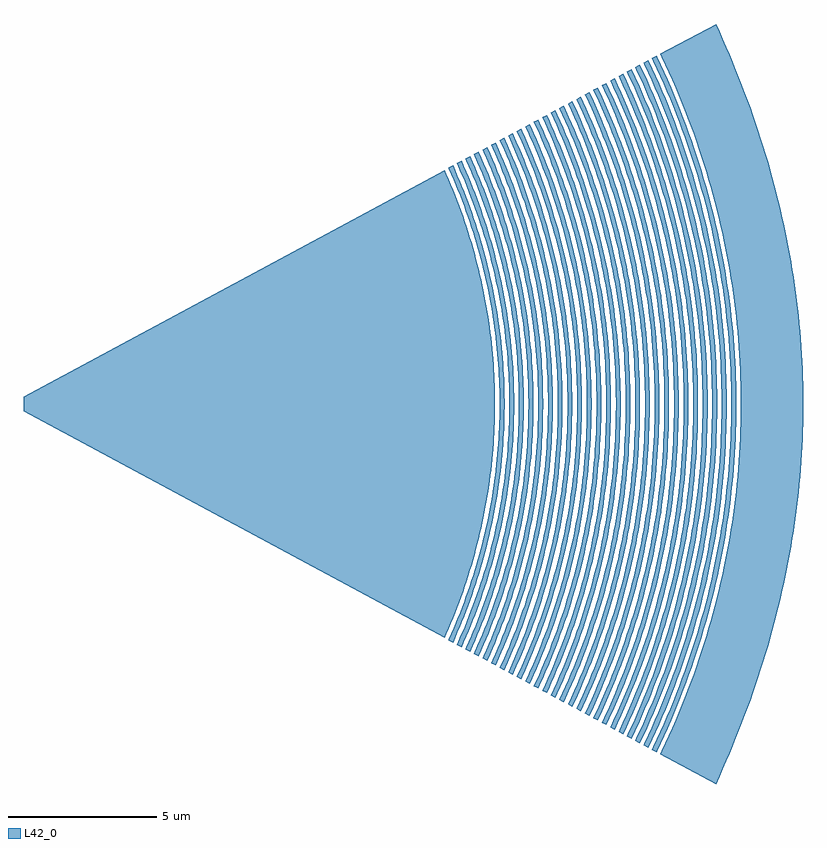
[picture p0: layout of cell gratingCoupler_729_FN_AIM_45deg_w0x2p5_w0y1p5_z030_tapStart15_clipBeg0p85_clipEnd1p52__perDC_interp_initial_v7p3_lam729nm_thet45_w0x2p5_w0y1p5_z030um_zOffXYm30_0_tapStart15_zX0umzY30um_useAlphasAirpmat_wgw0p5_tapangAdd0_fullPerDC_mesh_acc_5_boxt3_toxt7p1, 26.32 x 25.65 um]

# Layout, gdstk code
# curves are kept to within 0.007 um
import gdstk
lib = gdstk.Library(unit=1e-6, precision=1e-09)
def P(c, l, *ps):  # polygons
    for p in ps: c.add(gdstk.Polygon(p, *l))
L42_0 = (42, 0)

gratingcoupler_729_fn_ai = lib.new_cell('gratingCoupler_729_FN_AIM_45deg_w0x2p5_w0y1p5_z030_tapStart15_clipBeg0p85_clipEnd1p52__perDC_interp_initial_v7p3_lam729nm_thet45_w0x2p5_w0y1p5_z030um_zOffXYm30_0_tapStart15_zX0umzY30um_useAlphasAirpmat_wgw0p5_tapangAdd0_fullPerDC_mesh_acc_5_boxt3_toxt7p1')
P(gratingcoupler_729_fn_ai, L42_0, [(14.208,-7.895),(0,-0.25),(0,0.25),(14.208,7.895),(14.566,7.042),(14.767,6.507),(14.95,5.972),(15.218,5.081),(15.357,4.546),(15.48,4.011),(15.553,3.655),(15.678,2.941),(15.795,2.05),(15.87,1.159),(15.895,0.624),(15.905,0.089),(15.9,-0.446),(15.88,-0.98),(15.845,-1.515),(15.795,-2.05),(15.678,-2.941),(15.553,-3.655),(15.48,-4.011),(15.357,-4.546),(15.218,-5.081),(14.95,-5.972),(14.767,-6.507),(14.566,-7.042)],
  [(14.495,-8.05),(14.339,-7.966),(14.584,-7.398),(14.797,-6.863),(14.992,-6.329),(15.17,-5.794),(15.331,-5.259),(15.475,-4.724),(15.603,-4.189),(15.715,-3.655),(15.867,-2.763),(15.976,-1.872),(16.043,-0.98),(16.068,-0.089),(16.051,0.802),(15.993,1.694),(15.867,2.763),(15.715,3.655),(15.603,4.189),(15.475,4.724),(15.331,5.259),(15.17,5.794),(14.992,6.329),(14.797,6.863),(14.584,7.398),(14.339,7.966),(14.495,8.05),(14.794,7.348),(14.936,6.985),(15.257,6.078),(15.53,5.171),(15.672,4.626),(15.797,4.082),(15.969,3.175),(16.051,2.631),(16.118,2.086),(16.195,1.179),(16.22,0.635),(16.23,0.091),(16.225,-0.454),(16.205,-0.998),(16.137,-1.905),(16.075,-2.449),(15.998,-2.994),(15.906,-3.538),(15.797,-4.082),(15.672,-4.626),(15.53,-5.171),(15.257,-6.078),(14.936,-6.985),(14.794,-7.348)],
  [(14.782,-8.204),(14.625,-8.12),(15.028,-7.166),(15.232,-6.622),(15.419,-6.078),(15.589,-5.534),(15.741,-4.989),(15.919,-4.264),(16.033,-3.719),(16.187,-2.812),(16.298,-1.905),(16.366,-0.998),(16.392,-0.091),(16.375,0.816),(16.344,1.361),(16.298,1.905),(16.187,2.812),(16.033,3.719),(15.919,4.264),(15.741,4.989),(15.589,5.534),(15.419,6.078),(15.232,6.622),(15.028,7.166),(14.625,8.12),(14.782,8.204),(15.017,7.66),(15.238,7.107),(15.565,6.184),(15.843,5.261),(15.987,4.707),(16.114,4.153),(16.225,3.599),(16.319,3.046),(16.441,2.123),(16.519,1.2),(16.545,0.646),(16.555,0.092),(16.55,-0.461),(16.529,-1.015),(16.493,-1.569),(16.441,-2.123),(16.319,-3.046),(16.225,-3.599),(16.114,-4.153),(15.987,-4.707),(15.843,-5.261),(15.565,-6.184),(15.238,-7.107),(15.017,-7.66)],
  [(15.069,-8.359),(14.912,-8.274),(15.178,-7.66),(15.399,-7.107),(15.726,-6.184),(15.952,-5.445),(16.102,-4.892),(16.234,-4.338),(16.351,-3.784),(16.508,-2.861),(16.621,-1.938),(16.69,-1.015),(16.716,-0.092),(16.699,0.831),(16.668,1.384),(16.621,1.938),(16.508,2.861),(16.351,3.784),(16.234,4.338),(16.102,4.892),(15.952,5.445),(15.726,6.184),(15.399,7.107),(15.178,7.66),(14.912,8.274),(15.069,8.359),(15.392,7.604),(15.61,7.04),(15.81,6.477),(15.991,5.914),(16.155,5.351),(16.39,4.412),(16.508,3.849),(16.61,3.286),(16.743,2.347),(16.801,1.784),(16.843,1.22),(16.87,0.657),(16.88,0.094),(16.875,-0.469),(16.854,-1.033),(16.817,-1.596),(16.764,-2.159),(16.695,-2.722),(16.61,-3.286),(16.431,-4.224),(16.206,-5.163),(16.048,-5.726),(15.872,-6.289),(15.539,-7.228),(15.315,-7.791)],
  [(15.357,-8.513),(15.199,-8.428),(15.397,-7.979),(15.627,-7.416),(15.839,-6.853),(16.033,-6.289),(16.209,-5.726),(16.367,-5.163),(16.508,-4.6),(16.669,-3.849),(16.829,-2.91),(16.944,-1.971),(17.015,-1.033),(17.041,-0.094),(17.031,0.657),(17.004,1.22),(16.962,1.784),(16.856,2.722),(16.771,3.286),(16.669,3.849),(16.508,4.6),(16.367,5.163),(16.209,5.726),(16.033,6.289),(15.839,6.853),(15.627,7.416),(15.397,7.979),(15.199,8.428),(15.357,8.513),(15.767,7.541),(15.983,6.968),(16.18,6.395),(16.468,5.441),(16.617,4.868),(16.748,4.295),(16.863,3.723),(16.961,3.15),(17.087,2.195),(17.168,1.241),(17.195,0.668),(17.205,0.095),(17.187,-0.859),(17.155,-1.432),(17.107,-2.004),(17.042,-2.577),(16.961,-3.15),(16.863,-3.723),(16.748,-4.295),(16.617,-4.868),(16.468,-5.441),(16.18,-6.395),(15.983,-6.968),(15.767,-7.541)],
  [(15.644,-8.668),(15.489,-8.585),(15.698,-8.113),(15.933,-7.541),(16.148,-6.968),(16.345,-6.395),(16.524,-5.823),(16.685,-5.25),(16.828,-4.677),(16.954,-4.104),(17.126,-3.15),(17.253,-2.195),(17.306,-1.623),(17.344,-1.05),(17.371,-0.095),(17.353,0.859),(17.29,1.814),(17.231,2.386),(17.155,2.959),(16.992,3.914),(16.872,4.486),(16.734,5.059),(16.58,5.632),(16.407,6.204),(16.216,6.777),(16.007,7.35),(15.698,8.113),(15.489,8.585),(15.644,8.668),(16.068,7.666),(16.287,7.083),(16.488,6.501),(16.781,5.531),(16.932,4.949),(17.066,4.367),(17.251,3.396),(17.339,2.814),(17.411,2.232),(17.465,1.65),(17.504,1.067),(17.531,0.097),(17.526,-0.485),(17.504,-1.067),(17.465,-1.65),(17.411,-2.232),(17.339,-2.814),(17.251,-3.396),(17.066,-4.367),(16.932,-4.949),(16.781,-5.531),(16.488,-6.501),(16.287,-7.083),(16.068,-7.666)],
  [(15.932,-8.823),(15.781,-8.742),(16,-8.248),(16.314,-7.472),(16.658,-6.501),(16.84,-5.919),(17.003,-5.337),(17.149,-4.755),(17.277,-4.172),(17.453,-3.202),(17.581,-2.232),(17.636,-1.65),(17.674,-1.067),(17.701,-0.097),(17.696,0.485),(17.674,1.067),(17.601,2.038),(17.482,3.008),(17.316,3.978),(17.194,4.561),(17.054,5.143),(16.896,5.725),(16.721,6.307),(16.527,6.889),(16.314,7.472),(16,8.248),(15.781,8.742),(15.932,8.823),(16.21,8.185),(16.446,7.594),(16.796,6.607),(16.981,6.016),(17.148,5.424),(17.385,4.438),(17.573,3.452),(17.662,2.86),(17.735,2.268),(17.819,1.282),(17.846,0.69),(17.857,0.099),(17.852,-0.493),(17.83,-1.085),(17.791,-1.677),(17.735,-2.268),(17.662,-2.86),(17.573,-3.452),(17.385,-4.438),(17.148,-5.424),(16.981,-6.016),(16.796,-6.607),(16.446,-7.594),(16.21,-8.185)],
  [(16.22,-8.978),(16.072,-8.898),(16.301,-8.383),(16.543,-7.791),(16.767,-7.199),(16.97,-6.607),(17.155,-6.016),(17.322,-5.424),(17.47,-4.832),(17.6,-4.241),(17.713,-3.649),(17.809,-3.057),(17.93,-2.071),(18.004,-1.085),(18.032,-0.099),(18.026,0.493),(18.004,1.085),(17.93,2.071),(17.809,3.057),(17.64,4.043),(17.515,4.635),(17.373,5.227),(17.213,5.818),(17.034,6.41),(16.837,7.002),(16.62,7.594),(16.301,8.383),(16.072,8.898),(16.22,8.978),(16.424,8.518),(16.671,7.916),(17.038,6.914),(17.352,5.912),(17.515,5.311),(17.66,4.71),(17.786,4.108),(17.895,3.507),(17.986,2.906),(18.06,2.305),(18.145,1.303),(18.173,0.701),(18.184,0.1),(18.166,-0.902),(18.132,-1.503),(18.081,-2.104),(18.013,-2.706),(17.927,-3.307),(17.824,-3.908),(17.704,-4.509),(17.463,-5.511),(17.293,-6.113),(17.105,-6.714),(16.898,-7.315),(16.671,-7.916),(16.424,-8.518)],
  [(16.508,-9.133),(16.36,-9.053),(16.598,-8.518),(16.845,-7.916),(17.072,-7.315),(17.279,-6.714),(17.467,-6.113),(17.637,-5.511),(17.787,-4.91),(17.92,-4.309),(18.035,-3.708),(18.132,-3.106),(18.255,-2.104),(18.33,-1.102),(18.358,-0.1),(18.34,0.902),(18.306,1.503),(18.255,2.104),(18.132,3.106),(18.035,3.708),(17.92,4.309),(17.787,4.91),(17.637,5.511),(17.467,6.113),(17.279,6.714),(17.072,7.315),(16.845,7.916),(16.598,8.518),(16.36,9.053),(16.508,9.133),(16.721,8.652),(16.972,8.042),(17.129,7.635),(17.346,7.024),(17.665,6.006),(17.831,5.395),(17.978,4.784),(18.106,4.174),(18.217,3.563),(18.362,2.545),(18.425,1.934),(18.471,1.323),(18.5,0.713),(18.511,0.102),(18.506,-0.509),(18.483,-1.12),(18.442,-1.73),(18.385,-2.341),(18.25,-3.359),(18.145,-3.97),(18.023,-4.581),(17.882,-5.191),(17.722,-5.802),(17.414,-6.82),(17.052,-7.838),(16.807,-8.449)],
  [(16.796,-9.288),(16.648,-9.208),(16.895,-8.652),(17.146,-8.042),(17.377,-7.431),(17.588,-6.82),(17.779,-6.209),(17.951,-5.599),(18.105,-4.988),(18.24,-4.377),(18.424,-3.359),(18.559,-2.341),(18.616,-1.73),(18.657,-1.12),(18.685,-0.102),(18.68,0.509),(18.657,1.12),(18.58,2.138),(18.455,3.156),(18.356,3.766),(18.24,4.377),(18.105,4.988),(17.951,5.599),(17.779,6.209),(17.588,6.82),(17.377,7.431),(17.146,8.042),(16.895,8.652),(16.648,9.208),(16.796,9.288),(17.106,8.581),(17.274,8.167),(17.654,7.133),(17.978,6.1),(18.146,5.479),(18.296,4.859),(18.427,4.239),(18.539,3.618),(18.633,2.998),(18.71,2.378),(18.798,1.344),(18.827,0.724),(18.838,0.103),(18.833,-0.517),(18.809,-1.137),(18.768,-1.757),(18.71,-2.378),(18.633,-2.998),(18.539,-3.618),(18.427,-4.239),(18.296,-4.859),(18.146,-5.479),(17.978,-6.1),(17.654,-7.133),(17.274,-8.167),(17.106,-8.581)],
  [(17.084,-9.443),(16.936,-9.363),(17.192,-8.787),(17.448,-8.167),(17.682,-7.547),(17.897,-6.927),(18.091,-6.306),(18.266,-5.686),(18.422,-5.066),(18.559,-4.445),(18.747,-3.412),(18.884,-2.378),(18.972,-1.344),(19.001,-0.724),(19.012,-0.103),(18.993,0.93),(18.925,1.964),(18.86,2.585),(18.778,3.205),(18.601,4.239),(18.47,4.859),(18.266,5.686),(18.091,6.306),(17.897,6.927),(17.682,7.547),(17.448,8.167),(17.192,8.787),(16.936,9.363),(17.084,9.443),(17.315,8.922),(17.575,8.293),(17.961,7.243),(18.291,6.193),(18.462,5.563),(18.614,4.934),(18.825,3.884),(18.927,3.254),(19.011,2.624),(19.076,1.994),(19.124,1.365),(19.154,0.735),(19.166,0.105),(19.16,-0.525),(19.136,-1.155),(19.094,-1.784),(19.035,-2.414),(18.957,-3.044),(18.861,-3.674),(18.66,-4.724),(18.515,-5.353),(18.35,-5.983),(18.165,-6.613),(17.961,-7.243),(17.575,-8.293),(17.315,-8.922)],
  [(17.371,-9.598),(17.224,-9.518),(17.489,-8.922),(17.749,-8.293),(17.988,-7.663),(18.205,-7.033),(18.403,-6.403),(18.581,-5.773),(18.739,-5.143),(18.879,-4.514),(19.069,-3.464),(19.159,-2.834),(19.231,-2.204),(19.31,-1.155),(19.34,-0.105),(19.32,0.945),(19.284,1.575),(19.231,2.204),(19.101,3.254),(18.999,3.884),(18.879,4.514),(18.739,5.143),(18.581,5.773),(18.403,6.403),(18.205,7.033),(17.988,7.663),(17.749,8.293),(17.489,8.922),(17.224,9.518),(17.371,9.598),(17.791,8.631),(18.04,7.992),(18.269,7.352),(18.604,6.287),(18.778,5.647),(18.932,5.008),(19.067,4.369),(19.183,3.729),(19.281,3.09),(19.36,2.451),(19.45,1.385),(19.481,0.746),(19.493,0.107),(19.487,-0.533),(19.462,-1.172),(19.42,-1.811),(19.36,-2.451),(19.218,-3.516),(19.108,-4.156),(18.979,-4.795),(18.831,-5.434),(18.664,-6.074),(18.476,-6.713),(18.269,-7.352),(18.04,-7.992),(17.791,-8.631)],
  [(17.659,-9.752),(17.511,-9.673),(17.786,-9.057),(18.05,-8.418),(18.293,-7.779),(18.514,-7.139),(18.715,-6.5),(18.896,-5.861),(19.057,-5.221),(19.198,-4.582),(19.392,-3.516),(19.534,-2.451),(19.624,-1.385),(19.654,-0.746),(19.667,-0.107),(19.661,0.533),(19.636,1.172),(19.556,2.238),(19.483,2.877),(19.392,3.516),(19.198,4.582),(19.057,5.221),(18.896,5.861),(18.715,6.5),(18.514,7.139),(18.293,7.779),(18.05,8.418),(17.786,9.057),(17.511,9.673),(17.659,9.752),(17.909,9.192),(18.177,8.543),(18.344,8.111),(18.576,7.462),(18.916,6.38),(19.093,5.732),(19.25,5.083),(19.387,4.434),(19.505,3.785),(19.604,3.136),(19.685,2.487),(19.777,1.406),(19.807,0.757),(19.82,0.108),(19.813,-0.541),(19.789,-1.19),(19.746,-1.838),(19.685,-2.487),(19.541,-3.569),(19.429,-4.218),(19.298,-4.866),(19.036,-5.948),(18.853,-6.597),(18.649,-7.246),(18.424,-7.894),(18.177,-8.543),(17.909,-9.192)],
  [(17.946,-9.907),(17.798,-9.827),(18.083,-9.192),(18.351,-8.543),(18.598,-7.894),(18.823,-7.246),(19.027,-6.597),(19.21,-5.948),(19.374,-5.299),(19.518,-4.65),(19.715,-3.569),(19.859,-2.487),(19.951,-1.406),(19.981,-0.757),(19.994,-0.108),(19.988,0.541),(19.963,1.19),(19.881,2.271),(19.807,2.92),(19.715,3.569),(19.518,4.65),(19.374,5.299),(19.21,5.948),(19.027,6.597),(18.823,7.246),(18.598,7.894),(18.351,8.543),(18.083,9.192),(17.798,9.827),(17.946,9.907),(18.206,9.327),(18.478,8.669),(18.648,8.23),(18.883,7.571),(19.029,7.132),(19.229,6.474),(19.409,5.816),(19.568,5.157),(19.708,4.499),(19.828,3.841),(19.984,2.743),(20.053,2.085),(20.103,1.426),(20.134,0.768),(20.147,0.11),(20.14,-0.549),(20.115,-1.207),(20.072,-1.865),(20.009,-2.524),(19.928,-3.182),(19.828,-3.841),(19.617,-4.938),(19.464,-5.596),(19.291,-6.255),(19.098,-6.913),(18.957,-7.352),(18.729,-8.01),(18.478,-8.669),(18.206,-9.327)],
  [(18.234,-10.062),(18.085,-9.982),(18.38,-9.327),(18.652,-8.669),(18.903,-8.01),(19.131,-7.352),(19.339,-6.694),(19.525,-6.035),(19.691,-5.377),(19.838,-4.718),(20.037,-3.621),(20.184,-2.524),(20.246,-1.865),(20.29,-1.207),(20.321,-0.11),(20.315,0.549),(20.29,1.207),(20.207,2.304),(20.071,3.402),(19.964,4.06),(19.838,4.718),(19.691,5.377),(19.525,6.035),(19.339,6.694),(19.131,7.352),(18.903,8.01),(18.652,8.669),(18.38,9.327),(18.085,9.982),(18.234,10.062),(18.502,9.462),(18.779,8.794),(19.191,7.681),(19.542,6.568),(19.724,5.9),(19.886,5.232),(20.028,4.564),(20.15,3.896),(20.309,2.783),(20.379,2.115),(20.429,1.447),(20.461,0.779),(20.474,0.111),(20.453,-1.002),(20.415,-1.67),(20.358,-2.338),(20.281,-3.006),(20.186,-3.673),(20.071,-4.341),(19.936,-5.009),(19.78,-5.677),(19.605,-6.345),(19.408,-7.013),(19.191,-7.681),(18.779,-8.794),(18.502,-9.462)],
  [(18.52,-10.216),(18.373,-10.137),(18.677,-9.462),(18.954,-8.794),(19.208,-8.126),(19.44,-7.458),(19.651,-6.79),(19.84,-6.122),(20.009,-5.454),(20.157,-4.787),(20.286,-4.119),(20.36,-3.673),(20.509,-2.56),(20.572,-1.892),(20.617,-1.224),(20.648,-0.111),(20.642,0.557),(20.617,1.224),(20.532,2.338),(20.394,3.451),(20.286,4.119),(20.157,4.787),(20.009,5.454),(19.84,6.122),(19.651,6.79),(19.44,7.458),(19.208,8.126),(18.954,8.794),(18.677,9.462),(18.373,10.137),(18.52,10.216),(18.798,9.597),(19.08,8.919),(19.498,7.79),(19.719,7.113),(19.854,6.661),(20.04,5.984),(20.204,5.306),(20.348,4.629),(20.472,3.952),(20.575,3.274),(20.659,2.597),(20.756,1.468),(20.788,0.79),(20.801,0.113),(20.779,-1.016),(20.741,-1.694),(20.683,-2.371),(20.605,-3.048),(20.508,-3.726),(20.391,-4.403),(20.254,-5.081),(20.097,-5.758),(19.918,-6.435),(19.719,-7.113),(19.498,-7.79),(19.08,-8.919),(18.798,-9.597)],
  [(18.807,-10.37),(18.66,-10.291),(18.973,-9.597),(19.254,-8.919),(19.512,-8.242),(19.748,-7.564),(19.962,-6.887),(20.155,-6.21),(20.326,-5.532),(20.477,-4.855),(20.683,-3.726),(20.834,-2.597),(20.898,-1.919),(20.943,-1.242),(20.975,-0.113),(20.954,1.016),(20.915,1.694),(20.857,2.371),(20.78,3.048),(20.683,3.726),(20.477,4.855),(20.326,5.532),(20.155,6.21),(19.962,6.887),(19.748,7.564),(19.512,8.242),(19.254,8.919),(18.973,9.597),(18.66,10.291),(18.807,10.37),(19.288,9.274),(19.558,8.587),(19.805,7.9),(20.167,6.755),(20.355,6.068),(20.522,5.381),(20.622,4.923),(20.754,4.236),(20.866,3.549),(20.958,2.862),(21.03,2.175),(21.082,1.488),(21.114,0.801),(21.127,0.114),(21.121,-0.572),(21.095,-1.259),(21.049,-1.946),(20.984,-2.633),(20.831,-3.778),(20.712,-4.465),(20.573,-5.152),(20.413,-5.839),(20.232,-6.526),(20.029,-7.213),(19.805,-7.9),(19.558,-8.587),(19.288,-9.274)],
  [(19.094,-10.525),(18.946,-10.445),(19.269,-9.731),(19.554,-9.045),(19.817,-8.358),(20.056,-7.671),(20.273,-6.984),(20.469,-6.297),(20.643,-5.61),(20.796,-4.923),(21.005,-3.778),(21.158,-2.633),(21.256,-1.488),(21.289,-0.801),(21.302,-0.114),(21.28,1.03),(21.241,1.717),(21.182,2.404),(21.103,3.091),(21.005,3.778),(20.796,4.923),(20.643,5.61),(20.469,6.297),(20.273,6.984),(20.056,7.671),(19.817,8.358),(19.554,9.045),(19.269,9.731),(18.946,10.445),(19.094,10.525),(19.391,9.866),(19.681,9.17),(20.112,8.009),(20.34,7.313),(20.479,6.848),(20.67,6.152),(20.84,5.455),(20.988,4.759),(21.115,4.063),(21.222,3.366),(21.309,2.67),(21.408,1.509),(21.441,0.813),(21.454,0.116),(21.448,-0.58),(21.421,-1.277),(21.375,-1.973),(21.309,-2.67),(21.222,-3.366),(21.115,-4.063),(20.988,-4.759),(20.84,-5.455),(20.67,-6.152),(20.479,-6.848),(20.34,-7.313),(20.112,-8.009),(19.681,-9.17),(19.391,-9.866)],
  [(19.38,-10.679),(19.233,-10.599),(19.564,-9.866),(19.855,-9.17),(20.121,-8.473),(20.364,-7.777),(20.584,-7.08),(20.783,-6.384),(20.959,-5.688),(21.115,-4.991),(21.249,-4.295),(21.363,-3.598),(21.507,-2.438),(21.595,-1.277),(21.628,-0.116),(21.606,1.045),(21.566,1.741),(21.507,2.438),(21.363,3.598),(21.249,4.295),(21.115,4.991),(20.959,5.688),(20.783,6.384),(20.584,7.08),(20.364,7.777),(20.121,8.473),(19.855,9.17),(19.564,9.866),(19.233,10.599),(19.38,10.679),(19.687,10.001),(19.981,9.295),(20.164,8.824),(20.418,8.118),(20.65,7.412),(20.791,6.942),(20.985,6.236),(21.157,5.53),(21.308,4.824),(21.437,4.118),(21.512,3.647),(21.606,2.941),(21.68,2.235),(21.734,1.53),(21.768,0.824),(21.781,0.118),(21.759,-1.059),(21.718,-1.765),(21.658,-2.471),(21.577,-3.177),(21.475,-3.883),(21.353,-4.589),(21.21,-5.295),(21.045,-6.001),(20.923,-6.471),(20.722,-7.177),(20.498,-7.883),(20.251,-8.589),(19.981,-9.295),(19.687,-10.001)],
  [(19.667,-10.833),(19.519,-10.753),(19.86,-10.001),(20.155,-9.295),(20.425,-8.589),(20.672,-7.883),(20.895,-7.177),(21.097,-6.471),(21.276,-5.765),(21.434,-5.059),(21.649,-3.883),(21.751,-3.177),(21.832,-2.471),(21.921,-1.294),(21.955,-0.118),(21.948,0.588),(21.921,1.294),(21.832,2.471),(21.751,3.177),(21.649,3.883),(21.434,5.059),(21.276,5.765),(21.097,6.471),(20.895,7.177),(20.672,7.883),(20.425,8.589),(20.155,9.295),(19.86,10.001),(19.519,10.753),(19.667,10.833),(19.982,10.136),(20.184,9.659),(20.466,8.943),(20.725,8.228),(20.884,7.751),(21.103,7.035),(21.3,6.32),(21.475,5.604),(21.627,4.889),(21.758,4.173),(21.868,3.458),(21.958,2.743),(22.026,2.027),(22.074,1.312),(22.108,0.119),(22.101,-0.596),(22.074,-1.312),(22.026,-2.027),(21.958,-2.743),(21.868,-3.458),(21.758,-4.173),(21.627,-4.889),(21.475,-5.604),(21.3,-6.32),(21.103,-7.035),(20.884,-7.751),(20.725,-8.228),(20.466,-8.943),(20.184,-9.659),(19.982,-10.136)],
  [(19.951,-10.986),(19.804,-10.906),(20.049,-10.374),(20.356,-9.659),(20.639,-8.943),(20.897,-8.228),(21.132,-7.512),(21.344,-6.797),(21.533,-6.081),(21.7,-5.366),(21.8,-4.889),(21.931,-4.173),(22.041,-3.458),(22.13,-2.743),(22.198,-2.027),(22.246,-1.312),(22.28,-0.119),(22.273,0.596),(22.246,1.312),(22.217,1.789),(22.155,2.504),(22.103,2.981),(22.007,3.696),(21.89,4.412),(21.751,5.127),(21.591,5.843),(21.409,6.558),(21.205,7.274),(20.978,7.989),(20.727,8.705),(20.453,9.42),(20.154,10.136),(19.804,10.906),(19.951,10.986),(20.276,10.27),(20.58,9.545),(20.768,9.062),(21.03,8.337),(21.192,7.854),(21.415,7.129),(21.614,6.404),(21.792,5.679),(21.947,4.954),(22.08,4.229),(22.191,3.504),(22.282,2.779),(22.386,1.571),(22.42,0.846),(22.434,0.121),(22.427,-0.604),(22.399,-1.329),(22.351,-2.054),(22.282,-2.779),(22.191,-3.504),(22.08,-4.229),(21.947,-4.954),(21.792,-5.679),(21.614,-6.404),(21.415,-7.129),(21.192,-7.854),(21.03,-8.337),(20.768,-9.062),(20.58,-9.545),(20.276,-10.27)],
  [(20.236,-11.139),(20.083,-11.057),(20.441,-10.27),(20.745,-9.545),(21.023,-8.82),(21.277,-8.095),(21.508,-7.37),(21.715,-6.645),(21.9,-5.92),(22.062,-5.195),(22.203,-4.47),(22.284,-3.987),(22.389,-3.262),(22.447,-2.779),(22.516,-2.054),(22.564,-1.329),(22.585,-0.846),(22.599,-0.121),(22.576,1.087),(22.534,1.812),(22.472,2.537),(22.389,3.262),(22.284,3.987),(22.203,4.47),(22.062,5.195),(21.9,5.92),(21.715,6.645),(21.508,7.37),(21.277,8.095),(21.023,8.82),(20.745,9.545),(20.441,10.27),(20.083,11.057),(20.236,11.139),(20.57,10.404),(20.878,9.67),(21.069,9.18),(21.335,8.446),(21.499,7.956),(21.725,7.222),(21.928,6.487),(22.107,5.753),(22.265,5.018),(22.4,4.284),(22.513,3.55),(22.605,2.815),(22.654,2.326),(22.71,1.591),(22.745,0.857),(22.759,0.122),(22.752,-0.612),(22.724,-1.346),(22.675,-2.081),(22.605,-2.815),(22.513,-3.55),(22.4,-4.284),(22.265,-5.018),(22.162,-5.508),(21.99,-6.242),(21.795,-6.977),(21.577,-7.711),(21.335,-8.446),(21.069,-9.18),(20.878,-9.67),(20.57,-10.404)],
  [(20.519,-11.292),(20.361,-11.207),(20.728,-10.404),(20.936,-9.914),(21.227,-9.18),(21.493,-8.446),(21.734,-7.711),(21.953,-6.977),(22.148,-6.242),(22.32,-5.508),(22.47,-4.774),(22.598,-4.039),(22.704,-3.305),(22.762,-2.815),(22.812,-2.326),(22.868,-1.591),(22.903,-0.857),(22.917,-0.122),(22.91,0.612),(22.882,1.346),(22.833,2.081),(22.788,2.57),(22.704,3.305),(22.598,4.039),(22.47,4.774),(22.372,5.263),(22.208,5.998),(22.02,6.732),(21.81,7.466),(21.576,8.201),(21.318,8.935),(21.035,9.67),(20.728,10.404),(20.361,11.207),(20.519,11.292),(20.753,10.786),(21.074,10.042),(21.369,9.298),(21.639,8.554),(21.805,8.058),(22.034,7.314),(22.24,6.571),(22.422,5.827),(22.582,5.083),(22.719,4.339),(22.834,3.595),(22.927,2.851),(22.977,2.355),(23.034,1.612),(23.069,0.868),(23.083,0.124),(23.076,-0.62),(23.048,-1.364),(22.998,-2.108),(22.927,-2.851),(22.834,-3.595),(22.719,-4.339),(22.582,-5.083),(22.478,-5.579),(22.303,-6.323),(22.105,-7.066),(21.884,-7.81),(21.639,-8.554),(21.369,-9.298),(21.074,-10.042),(20.753,-10.786)],
  [(20.802,-11.444),(20.64,-11.357),(20.905,-10.786),(21.226,-10.042),(21.521,-9.298),(21.791,-8.554),(22.036,-7.81),(22.258,-7.066),(22.455,-6.323),(22.63,-5.579),(22.782,-4.835),(22.912,-4.091),(22.986,-3.595),(23.079,-2.851),(23.129,-2.355),(23.186,-1.612),(23.221,-0.868),(23.235,-0.124),(23.233,0.372),(23.212,1.116),(23.169,1.86),(23.105,2.603),(23.019,3.347),(22.912,4.091),(22.828,4.587),(22.683,5.331),(22.516,6.075),(22.258,7.066),(22.036,7.81),(21.791,8.554),(21.521,9.298),(21.226,10.042),(20.905,10.786),(20.64,11.357),(20.802,11.444),(21.155,10.671),(21.472,9.918),(21.762,9.164),(21.942,8.662),(22.111,8.16),(22.343,7.407),(22.551,6.654),(22.736,5.9),(22.898,5.147),(23.037,4.394),(23.117,3.892),(23.219,3.138),(23.298,2.385),(23.356,1.632),(23.392,0.879),(23.407,0.126),(23.399,-0.628),(23.371,-1.381),(23.32,-2.134),(23.248,-2.887),(23.153,-3.641),(23.037,-4.394),(22.947,-4.896),(22.793,-5.649),(22.616,-6.403),(22.415,-7.156),(22.191,-7.909),(21.942,-8.662),(21.762,-9.164),(21.472,-9.918),(21.155,-10.671)],
  [(21.085,-11.596),(20.924,-11.509),(21.196,-10.922),(21.522,-10.169),(21.821,-9.415),(22.095,-8.662),(22.343,-7.909),(22.568,-7.156),(22.768,-6.403),(22.945,-5.649),(23.051,-5.147),(23.19,-4.394),(23.306,-3.641),(23.4,-2.887),(23.473,-2.134),(23.509,-1.632),(23.545,-0.879),(23.559,-0.126),(23.557,0.377),(23.535,1.13),(23.492,1.883),(23.427,2.636),(23.34,3.39),(23.27,3.892),(23.146,4.645),(22.999,5.398),(22.83,6.151),(22.568,7.156),(22.343,7.909),(22.095,8.662),(21.821,9.415),(21.522,10.169),(21.196,10.922),(20.924,11.509),(21.085,11.596),(21.334,11.058),(21.664,10.296),(21.968,9.533),(22.245,8.77),(22.416,8.262),(22.652,7.499),(22.863,6.737),(23.05,5.974),(23.214,5.211),(23.355,4.449),(23.473,3.686),(23.569,2.923),(23.642,2.161),(23.679,1.652),(23.715,0.89),(23.73,0.127),(23.722,-0.636),(23.693,-1.398),(23.642,-2.161),(23.569,-2.923),(23.473,-3.686),(23.355,-4.449),(23.214,-5.211),(23.05,-5.974),(22.863,-6.737),(22.652,-7.499),(22.416,-8.262),(22.245,-8.77),(21.968,-9.533),(21.664,-10.296),(21.334,-11.058)],
  [(21.367,-11.748),(21.207,-11.662),(21.488,-11.058),(21.817,-10.296),(22.121,-9.533),(22.398,-8.77),(22.65,-8.008),(22.878,-7.245),(23.081,-6.482),(23.261,-5.72),(23.417,-4.957),(23.55,-4.195),(23.661,-3.432),(23.722,-2.923),(23.795,-2.161),(23.832,-1.652),(23.868,-0.89),(23.883,-0.127),(23.881,0.381),(23.859,1.144),(23.815,1.907),(23.749,2.669),(23.661,3.432),(23.55,4.195),(23.464,4.703),(23.315,5.466),(23.144,6.228),(22.948,6.991),(22.729,7.754),(22.485,8.516),(22.216,9.279),(21.921,10.041),(21.6,10.804),(21.207,11.662),(21.367,11.748),(21.624,11.195),(21.958,10.423),(22.266,9.65),(22.547,8.878),(22.721,8.364),(22.96,7.592),(23.174,6.82),(23.364,6.048),(23.53,5.276),(23.628,4.761),(23.755,3.989),(23.86,3.217),(23.942,2.445),(24.001,1.673),(24.038,0.901),(24.053,0.129),(24.045,-0.643),(24.016,-1.415),(23.964,-2.187),(23.89,-2.959),(23.793,-3.732),(23.673,-4.504),(23.53,-5.276),(23.364,-6.048),(23.174,-6.82),(22.96,-7.592),(22.721,-8.364),(22.547,-8.878),(22.266,-9.65),(21.958,-10.423),(21.624,-11.195)],
  [(23.369,-12.825),(21.49,-11.814),(22.004,-10.68),(22.218,-10.165),(22.517,-9.393),(22.789,-8.621),(22.957,-8.106),(23.188,-7.334),(23.328,-6.82),(23.576,-5.79),(23.684,-5.276),(23.827,-4.504),(23.909,-3.989),(24.014,-3.217),(24.071,-2.702),(24.138,-1.93),(24.192,-0.901),(24.207,-0.129),(24.192,0.901),(24.155,1.673),(24.095,2.445),(24.014,3.217),(23.909,3.989),(23.734,5.018),(23.518,6.048),(23.328,6.82),(23.113,7.592),(22.874,8.364),(22.517,9.393),(22.218,10.165),(21.892,10.937),(21.49,11.814),(23.369,12.825),(23.715,12.048),(24.04,11.27),(24.343,10.493),(24.625,9.716),(24.885,8.938),(25.123,8.161),(25.34,7.384),(25.535,6.607),(25.708,5.829),(25.859,5.052),(25.989,4.275),(26.098,3.498),(26.208,2.461),(26.266,1.684),(26.302,0.907),(26.317,0.13),(26.309,-0.648),(26.281,-1.425),(26.23,-2.202),(26.158,-2.979),(26.028,-4.016),(25.905,-4.793),(25.761,-5.57),(25.595,-6.348),(25.407,-7.125),(25.198,-7.902),(24.967,-8.679),(24.625,-9.716),(24.343,-10.493),(24.04,-11.27),(23.715,-12.048)])

lib.write_gds('gratingCoupler_729_FN_AIM_45deg_w0x2p5_w0y1p5_z030_tapStart15_clipBeg0p85_clipEnd1p52__perDC_interp_initial_v7p3_lam729nm_thet45_w0x2p5_w0y1p5_z030um_zOffXYm30_0_tapStart15_zX0umzY30um_useAlphasAirpmat_wgw0p5_tapangAdd0_fullPerDC_mesh_acc_5_boxt3_toxt7p1.gds')
